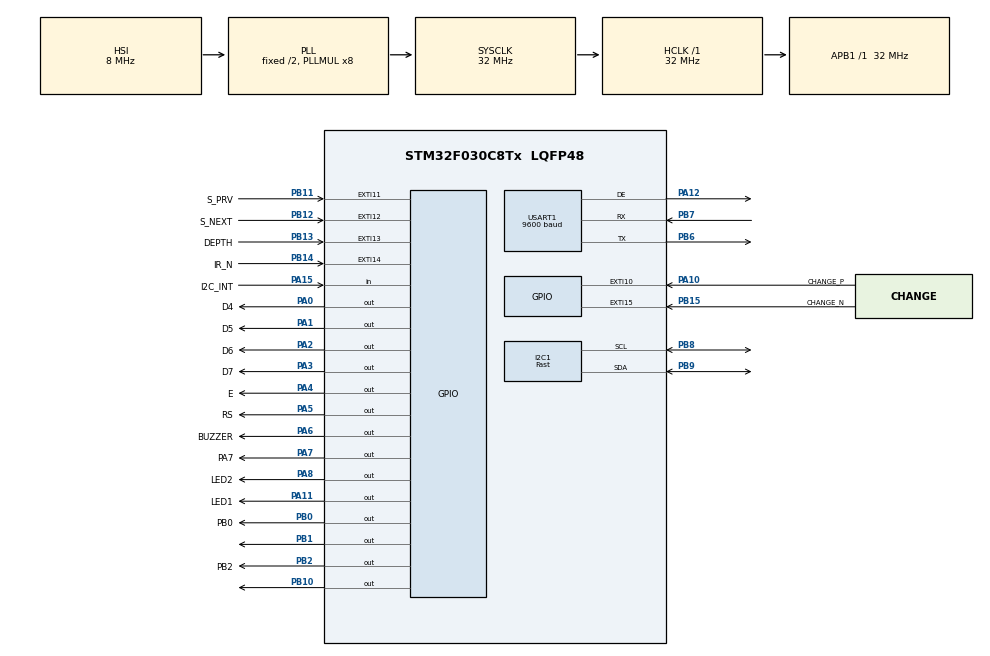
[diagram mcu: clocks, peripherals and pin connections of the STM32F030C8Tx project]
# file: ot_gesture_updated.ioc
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I2C1.I2C_Speed_Mode=I2C_Fast
I2C1.Timing=0x0000020B
Mcu.Family=STM32F0
Mcu.Name=STM32F030C8Tx
Mcu.Package=LQFP48
NVIC.EXTI4_15_IRQn=true\:0\:0\:false\:false\:true\:true\:true\:true
NVIC.TIM6_IRQn=true\:0\:0\:false\:false\:true\:true\:true\:true
PA0.GPIO_Label=D4
PA0.Signal=GPIO_Output
PA1.GPIO_Label=D5
PA1.Signal=GPIO_Output
PA10.GPIO_Label=CHANGE_P
PA10.Signal=GPXTI10
PA11.GPIO_Label=LED1
PA11.Signal=GPIO_Output
PA12.Mode=Hardware Flow Control (RS485)
PA12.Signal=USART1_DE
PA13.Mode=Serial_Wire
PA13.Signal=SYS_SWDIO
PA14.Mode=Serial_Wire
PA14.Signal=SYS_SWCLK
PA15.GPIO_Label=I2C_INT
PA15.Signal=GPIO_Input
PA2.GPIO_Label=D6
PA2.Signal=GPIO_Output
PA3.GPIO_Label=D7
PA3.Signal=GPIO_Output
PA4.GPIO_Label=E
PA4.Signal=GPIO_Output
PA5.GPIO_Label=RS
PA5.Signal=GPIO_Output
PA6.GPIO_Label=BUZZER
PA6.Signal=GPIO_Output
PA7.GPIO_Label=PA7
PA7.Signal=GPIO_Output
PA8.GPIO_Label=LED2
PA8.Signal=GPIO_Output
PB0.GPIO_Label=PB0
PB0.Signal=GPIO_Output
PB1.Signal=GPIO_Output
PB10.Signal=GPIO_Output
PB11.GPIO_Label=S_PRV
PB11.Signal=GPXTI11
PB12.GPIO_Label=S_NEXT
PB12.Signal=GPXTI12
PB13.GPIO_Label=DEPTH
PB13.Signal=GPXTI13
PB14.GPIO_Label=IR_N
PB14.Signal=GPXTI14
PB15.GPIO_Label=CHANGE_N
PB15.Signal=GPXTI15
PB2.GPIO_Label=PB2
PB2.Signal=GPIO_Output
PB6.Mode=Asynchronous
PB6.Signal=USART1_TX
PB7.Mode=Asynchronous
PB7.Signal=USART1_RX
PB8.GPIO_Pu=GPIO_PULLUP
PB8.Mode=I2C
PB8.Signal=I2C1_SCL
PB9.GPIO_Pu=GPIO_PULLUP
PB9.Mode=I2C
PB9.Signal=I2C1_SDA
ProjectManager.HeapSize=0x200
ProjectManager.StackSize=0x400
ProjectManager.TargetToolchain=STM32CubeIDE
RCC.AHBFreq_Value=32000000
RCC.APB1Freq_Value=32000000
RCC.APB1TimFreq_Value=32000000
RCC.HCLKFreq_Value=32000000
RCC.PLLMUL=RCC_PLL_MUL8
RCC.SYSCLKFreq_VALUE=32000000
RCC.SYSCLKSource=RCC_SYSCLKSOURCE_PLLCLK
TIM6.AutoReloadPreload=TIM_AUTORELOAD_PRELOAD_ENABLE
TIM6.Period=1000-1
TIM6.Prescaler=32000-1
USART1.BaudRate=9600
USART1.VirtualMode-Asynchronous=VM_ASYNC
USART1.VirtualMode-Hardware\ Flow\ Control\ (RS485)=VM_ASYNC
VP_TIM6_VS_ClockSourceINT.Mode=Enable_Timer
board=custom

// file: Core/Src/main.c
/* USER CODE BEGIN Header */
/**
 ******************************************************************************
 * @file           : main.c
 * @brief          : Main program body
 ******************************************************************************
 * @attention
 *
 * Copyright (c) 2022 STMicroelectronics.
 * All rights reserved.
 *
 * This software is licensed under terms that can be found in the LICENSE file
 * in the root directory of this software component.
 * If no LICENSE file comes with this software, it is provided AS-IS.
 *
 ******************************************************************************
 */
/* USER CODE END Header */
#include "main.h"

/* USER CODE BEGIN Includes */
#include <stdio.h>
/* USER CODE END Includes */

/* USER CODE BEGIN PTD */
uint32_t timer_intrupt = 0;
uint8_t depth_press =0;
#define on 1
#define off 0

void page_3_print(void);
void page_2_print(void);
void send_cmd(int8_t x, int8_t mode);

uint8_t last_pg, current_pg;
uint8_t pg2 = 0;
uint8_t pg2_fc = 0;

uint8_t pg3_sm,pg3_md,pg3_wd =0;

enum pos
{
	intensity = 1,
	color,
	sensor,
	lamp,
	endo,
	depth
};

enum key
{
	_prv,
	_nxt,
	_depth,
	_neg,
	_pos
};

struct key_status_reg
{
	volatile uint8_t prv : 1;
	volatile uint8_t nxt : 1;
	volatile uint8_t depth : 1;
	volatile uint8_t pos : 1;
	volatile uint8_t neg : 1;
};

struct gesture_status_reg
{
	uint8_t up : 1;
	uint8_t down : 1;
	uint8_t left : 1;
	uint8_t right : 1;
};

struct interrupt_flag_reg
{
	volatile uint8_t key_flag : 1;
	volatile uint8_t gesture_flag : 1;
	volatile uint8_t screen_flag : 1;
	volatile uint8_t prv_long_press : 1;
	volatile uint8_t depth_long_press : 1;
	volatile uint8_t update_data : 1;
};

struct pos_status_reg
{
	int8_t position_cursor;
	uint16_t key_number : 3;
	uint16_t gesture_direction : 2;
	uint16_t screen_number : 3;
};

struct screen_data_reg
{
	uint8_t intensity : 4;
	uint8_t sensor : 1;
	uint8_t lamp : 1;
	uint8_t endo : 1;
	uint8_t depth : 1;
	int8_t color;
};

enum pos cursor;
struct key_status_reg key_pressed;
struct gesture_status_reg ges_dir;
struct interrupt_flag_reg interrupt_reg;
struct pos_status_reg current_pos = {1, 0, 0, 1};
struct screen_data_reg data_reg = {1, 0, 0, 1, 0, 0};
/* USER CODE END PTD */

/* USER CODE BEGIN PM */
void init_gesture();
uint8_t readGesture();
uint8_t gestureAvailable();
void clr_select();
void clr_data(uint8_t);
/* USER CODE END PM */

 I2C_HandleTypeDef hi2c1;

TIM_HandleTypeDef htim6;

UART_HandleTypeDef huart1;

void SystemClock_Config(void);
static void MX_GPIO_Init(void);
static void MX_TIM6_Init(void);
static void MX_I2C1_Init(void);
static void MX_USART1_UART_Init(void);

/* USER CODE BEGIN 0 */
void home_page(void);
void lcd_clear(void);
void lcd_init(void);
void lcd_puts(uint8_t x, uint8_t y, int8_t *string);

void print_int(int _data)
{
	int8_t buffer[8];
	lcd_clear();
	sprintf(buffer, "%02d", _data);
	lcd_puts(3, 2, buffer); // x = 2, y = 3
}

uint8_t update_key_press()
{
	if (key_pressed.prv)
	{
		current_pos.key_number = _prv;
		key_pressed.prv = 0;
		return _prv;
	}
	else if (key_pressed.nxt)
	{
		key_pressed.nxt = 0;
		current_pos.key_number = _nxt;

		return _nxt;
	}
	else if (key_pressed.depth)
	{
		key_pressed.depth = 0;
		current_pos.key_number = _depth;
		data_reg.depth = !data_reg.depth;
		clr_data(depth);
		clr_select();
//		lcd_puts(3, 10, (int8_t *)">");
		if (data_reg.depth)
			lcd_puts(3, 17, (int8_t *)"ON");
		else
			lcd_puts(3, 17, (int8_t *)"OFF");

		return _depth;
	}
	else if (key_pressed.pos)
	{
		key_pressed.pos = 0;
		current_pos.key_number = _pos;
		return _pos;
	}
	else if (key_pressed.neg)
	{
		key_pressed.neg = 0;
		current_pos.key_number = _neg;
		return _neg;
	}

	return 0;
}

// void long_prv_press()
//{
//	current_pos.position_cursor =  sensor;
//	data_reg.sensor = !data_reg.sensor;
//
// }
void set_data_positive()
{
	if(pg2_fc == 0)
	{
		switch (current_pos.position_cursor)
		{
		case intensity:
			data_reg.intensity++;
			if (data_reg.intensity >= 10)
				data_reg.intensity = 10;
			break;
		case color:
			data_reg.color++;
			if (data_reg.color > 5)
				data_reg.color = 5;
			break;
		case sensor:
			data_reg.sensor = on;
			break;
		case lamp:
			data_reg.lamp = on;
			break;
		case endo:
			data_reg.endo = on;
			break;
		case depth:
			data_reg.depth = on;
			break;
		case 7:
			pg2_fc = on;
			break;
		}
	}

	else
	{
		switch (current_pos.position_cursor)
		{
		case 7:
			pg2_fc = on;
			break;
		case 1:
			pg3_sm = on;
			pg3_md = off;
			pg3_wd = off;
			break;
		case 2:
			pg3_sm = off;
			pg3_md = on;
			pg3_wd = off;
			break;
		case 3:
			pg3_sm = off;
			pg3_md = off;
			pg3_wd = on;
			break;

		}

	}
}

void set_data_negative()
{
	if(pg2_fc == 0)
	{

		switch (current_pos.position_cursor)
		{
		case intensity:
			data_reg.intensity--;
			if (data_reg.intensity <= 1)
				data_reg.intensity = 1;
			break;
		case color:
			data_reg.color--;
			if (data_reg.color < -5)
				data_reg.color = -5;
			break;
		case sensor:
			data_reg.sensor = off;
			break;
		case lamp:
			data_reg.lamp = off;
			break;
		case endo:
			data_reg.endo = off;
			break;
		case depth:
			data_reg.depth = off;
			break;
		case 7:
			pg2_fc = off;
			break;
		}
	}

	else
	{
		switch (current_pos.position_cursor)
		{
		case 7:
			pg2_fc = off;
			break;
		case 1:
			pg3_sm = off;
			break;
		case 2:
			pg3_md = off;
			break;
		case 3:
			pg3_wd = off;
			break;

		}

	}
}

void update_new_data()
{
	switch (current_pos.key_number)
	{
	case _prv:
		current_pos.position_cursor--;
//		if (current_pos.position_cursor == 0)
//		{
//			lcd_clear();
//			page_2_print();
//		}

		if (current_pos.position_cursor <= 0)
		{
//			lcd_clear();
			current_pos.position_cursor = 7;

		}
		break;
	case _nxt:
		current_pos.position_cursor++;
//		if (current_pos.position_cursor == 7)
//		{
//			page_2_print();
//		}

		if (current_pos.position_cursor > 7)
		{

				current_pos.position_cursor = 1;
		}
		break;
	case _depth:
//		data_reg.depth = !data_reg.depth;
		if (data_reg.depth)
		{
			current_pos.position_cursor = intensity;
			data_reg.intensity = 10;
			depth_press = 1;
//			data_reg.depth = on;
		}

		else
		{
			current_pos.position_cursor = intensity;
			data_reg.intensity = 1;
//			data_reg.depth = off;
		}
		break;
	case _pos:
		set_data_positive();
		break;
	case _neg:
		set_data_negative();
		break;

	}
}

void page_2_print()
{
	lcd_puts(0, 0, (int8_t *)">");
	lcd_puts(0, 1, (int8_t *)"FOCUS  :");

}

void page_3_print()
{
	char buf[3];
	lcd_puts(0, 0, (int8_t *)">");
	lcd_puts(0, 1, (int8_t *)"FOCUS  :");
	lcd_puts(1, 1, (int8_t *)"SMALL  : ");
	lcd_puts(2, 1, (int8_t *)"Medium : ");
	lcd_puts(3, 1, (int8_t *)"Wide   : ");

	clr_data(8);
	if (pg3_sm)
		lcd_puts(1, 10, (int8_t *)"ON");
	else
		lcd_puts(1, 10, (int8_t *)"OFF");

	clr_data(9);
	if (pg3_md)
		lcd_puts(2, 10, (int8_t *)"ON");
	else
		lcd_puts(2, 10, (int8_t *)"OFF");

	clr_data(10);
	if (pg3_wd)
		lcd_puts(3, 10, (int8_t *)"ON");
	else
		lcd_puts(3, 10, (int8_t *)"OFF");

}

void update_screen_data_2()
{
	lcd_puts(0, 0, (int8_t *)">");
	lcd_puts(0, 10, (int8_t *)"Disable");
}

void update_screen_data_3()
{

	switch(current_pos.position_cursor)
	{

	case 7:
		lcd_puts(0, 0, (int8_t *)">");
		lcd_puts(1, 0, (int8_t *)" ");
		lcd_puts(2, 0, (int8_t *)" ");
		lcd_puts(3, 0, (int8_t *)" ");
		if(pg2_fc)
		{
			lcd_puts(0, 15, (int8_t *)"  ");
			lcd_puts(0, 10, (int8_t *)"Enable");
		}
		else
			lcd_puts(0, 10, (int8_t *)"Disable");
		break;

	case 1:
		lcd_puts(0, 0, (int8_t *)" ");
		lcd_puts(1, 0, (int8_t *)">");
		lcd_puts(2, 0, (int8_t *)" ");
		lcd_puts(3, 0, (int8_t *)" ");
		if(pg3_sm)
		{
			lcd_puts(1, 12, (int8_t *)"  ");
			lcd_puts(1, 10, (int8_t *)"ON");
		}
		else
		{
			lcd_puts(1, 10, (int8_t *)"OFF");
		}
		send_cmd(pg3_sm,8);
		break;
	case 2:
		lcd_puts(0, 0, (int8_t *)" ");
		lcd_puts(1, 0, (int8_t *)" ");
		lcd_puts(2, 0, (int8_t *)">");
		lcd_puts(3, 0, (int8_t *)" ");
		if(pg3_md)
		{
			lcd_puts(2, 12, (int8_t *)" ");
			lcd_puts(2, 10, (int8_t *)"ON");
		}
		else
		{
			lcd_puts(2, 10, (int8_t *)"OFF");
		}
		send_cmd(pg3_md,8);
		break;
	case 3:
		lcd_puts(0, 0, (int8_t *)" ");
		lcd_puts(1, 0, (int8_t *)" ");
		lcd_puts(2, 0, (int8_t *)" ");
		lcd_puts(3, 0, (int8_t *)">");
		if(pg3_wd)
		{
			lcd_puts(3, 12, (int8_t *)" ");
			lcd_puts(3, 10, (int8_t *)"ON");
		}
		else
		{
			lcd_puts(3, 10, (int8_t *)"OFF");
		}
		send_cmd(pg3_wd,10);
		break;

	}
//
//	if(current_pos.position_cursor == 1)
//	{
//		lcd_puts(1, 0, (int8_t *)">");
//		if(pg3_sm)
//		{
//			lcd_puts(1, 12, (int8_t *)" ");
//			lcd_puts(1, 10, (int8_t *)"ON");
//		}
//		else
//		{
//			lcd_puts(1, 10, (int8_t *)"OFF");
//		}
//		break;
//	}
//	else if (current_pos.position_cursor == 2)
//	{
//		lcd_puts(2, 0, (int8_t *)">");
//		if(pg3_md)
//		{
//			lcd_puts(2, 12, (int8_t *)" ");
//			lcd_puts(2, 10, (int8_t *)"ON");
//		}
//		else
//		{
//			lcd_puts(2, 10, (int8_t *)"OFF");
//		}
//	}
//	else if (current_pos.position_cursor == 3)
//	{
//		lcd_puts(3, 0, (int8_t *)">");
//		if(pg3_sm)
//		{
//			lcd_puts(3, 12, (int8_t *)" ");
//			lcd_puts(3, 10, (int8_t *)"ON");
//		}
//		else
//		{
//			lcd_puts(3, 10, (int8_t *)"OFF");
//		}
//	}

}

void update_screen_data()
{
	char buffer[3];

	switch (current_pos.position_cursor)
	{
	case intensity:
		if(depth_press)
		{
//			sprintf(buffer, "%02d", data_reg.intensity);
			lcd_puts(1, 7, (int8_t *)"MAX");
			depth_press = 0;
		}
		else
		{
			clr_data(intensity);
			sprintf(buffer, "%02d", data_reg.intensity);
			lcd_puts(1, 7, (int8_t *)buffer);
		}

		clr_select();
		lcd_puts(1, 0, (int8_t *)">");
		send_cmd(data_reg.intensity,intensity);
		break;

	case color:
		sprintf(buffer, "%02d", data_reg.color);
		lcd_puts(2, 7, (int8_t *)buffer);
		clr_select();
		lcd_puts(2, 0, (int8_t *)">");
		send_cmd(data_reg.color,color);
		break;

	case sensor:
		clr_data(sensor);
		clr_select();
		lcd_puts(3, 0, (int8_t *)">");
		send_cmd(data_reg.sensor,sensor);
		if (data_reg.sensor)
			lcd_puts(3, 7, (int8_t *)"ON");
		else
			lcd_puts(3, 7, (int8_t *)"OFF");
		break;

	case lamp:
		clr_data(lamp);
		clr_select();
		lcd_puts(1, 10, (int8_t *)">");
		send_cmd(data_reg.lamp,lamp);
		if (data_reg.lamp)
			lcd_puts(1, 17, (int8_t *)"ON");
		else
			lcd_puts(1, 17, (int8_t *)"OFF");
		break;

	case endo:
		clr_data(endo);
		clr_select();
		lcd_puts(2, 10, (int8_t *)">");
		send_cmd(data_reg.lamp,lamp);
		if (data_reg.endo)
			lcd_puts(2, 17, (int8_t *)"ON");
		else
			lcd_puts(2, 17, (int8_t *)"OFF");
		break;

	case depth:
		clr_data(depth);
		clr_select();
		lcd_puts(3, 10, (int8_t *)">");
		send_cmd(data_reg.depth,depth);
		if (data_reg.depth)
			lcd_puts(3, 17, (int8_t *)"ON");
		else
			lcd_puts(3, 17, (int8_t *)"OFF");
		break;
	}
}

void send_cmd(int8_t x, int8_t mode)
{
	uint8_t data[5];
	data[0] = '@';
	data[4] = '#';
	switch (mode)
	{
	case intensity:
		data[1] = 'I';
		data[2] = '0';
		data[3] = 48 + x;
		HAL_UART_Transmit(&huart1, &data[0], 5, 100);
		break;
	case color:
		if (x > 0)
		{
			data[1] = 'C';
			data[2] = '+';
			data[3] = 48 + x;
		}
		else
		{
			data[1] = 'C';
			data[2] = '-';
			data[3] = (48 + (x) * (-1));
		}
		HAL_UART_Transmit(&huart1, &data[0], 5, 100);
		break;
	case sensor:
		// data[1] = 'I';data[2] = '0';data[3] = 48+x;
		// HAL_UART_Transmit(&huart1, &data[0], 5, 100);
		break;

	case lamp:
		data[1] = 'L';
		data[2] = '_';
		data[3] = 48 + x;
		HAL_UART_Transmit(&huart1, &data[0], 5, 100);
		break;
	case endo:
		data[1] = 'E';
		data[2] = '_';
		data[3] = 48 + x;
		HAL_UART_Transmit(&huart1, &data[0], 5, 100);
		break;
	case depth:
		data[1] = 'D';
		data[2] = '_';
		data[3] = 48 + x;
		HAL_UART_Transmit(&huart1, &data[0], 5, 100);
		break;
	case 8:

		if(x == 1)
		{
			data[1] = 'F';
			data[2] = '_';
			data[3] = 48 + 1;
		}
		else if(x == 0)
		{
			data[1] = 'R';
			data[2] = 'E';
			data[3] = 'S';
		}

		HAL_UART_Transmit(&huart1, &data[0], 5, 100);
		break;
	case 9:
		if(x == 1)
		{
			data[1] = 'F';
			data[2] = '_';
			data[3] = 48 + 2;
		}
		else if(x == 0)
		{
			data[1] = 'R';
			data[2] = 'E';
			data[3] = 'S';
		}
		HAL_UART_Transmit(&huart1, &data[0], 5, 100);
		break;
	case 10:
		if(x == 1)
		{
			data[1] = 'F';
			data[2] = '_';
			data[3] = 48 + 3;
		}
		else if(x == 0)
		{
			data[1] = 'R';
			data[2] = 'E';
			data[3] = 'S';
		}
		HAL_UART_Transmit(&huart1, &data[0], 5, 100);
		break;
	}
}

void page1_print(void)
{
	char buffer[3];
	lcd_puts(0, 0, (int8_t *)"______ COGNATE _____");
	lcd_puts(1, 1, (int8_t *)"INTEN");
	lcd_puts(2, 1, (int8_t *)"COLOR");
	lcd_puts(3, 1, (int8_t *)"SENSR");
	lcd_puts(1, 11, (int8_t *)"LAMP");
	lcd_puts(2, 11, (int8_t *)"ENDO");
	lcd_puts(3, 11, (int8_t *)"DEPTH");

//	lcd_puts(1, 0, (int8_t *)">");

	sprintf(buffer, "%02d", data_reg.intensity);
	lcd_puts(1, 7, (int8_t *)buffer);

	sprintf(buffer, "%02d", data_reg.color);
	lcd_puts(2, 7, (int8_t *)buffer);

	clr_data(sensor);
	if (data_reg.sensor)
		lcd_puts(3, 7, (int8_t *)"ON");
	else
		lcd_puts(3, 7, (int8_t *)"OFF");

	clr_data(lamp);
	if (data_reg.lamp)
		lcd_puts(1, 17, (int8_t *)"ON");
	else
		lcd_puts(1, 17, (int8_t *)"OFF");

	clr_data(endo);
	if (data_reg.endo)
		lcd_puts(2, 17, (int8_t *)"ON");
	else
		lcd_puts(2, 17, (int8_t *)"OFF");

	clr_data(depth);
	if (data_reg.depth)
		lcd_puts(3, 17, (int8_t *)"ON");
	else
		lcd_puts(3, 17, (int8_t *)"OFF");

	lcd_puts(1, 0, (int8_t *)">");
}

void HAL_GPIO_EXTI_Callback(uint16_t GPIO_Pin)
{

	static uint32_t _time;

	if ((HAL_GetTick() - _time) >= 500)
	{

		if (GPIO_Pin == S_PRV_Pin)
		{

			key_pressed.prv = 1;
			interrupt_reg.key_flag = 1;
		}

		else if (GPIO_Pin == S_NEXT_Pin)
		{

			key_pressed.nxt = 1;
			interrupt_reg.key_flag = 1;
		}

		else if (GPIO_Pin == DEPTH_Pin)
		{

			key_pressed.depth = 1;
			interrupt_reg.key_flag = 1;
		}

		else if (GPIO_Pin == CHANGE_N_Pin)
		{

			key_pressed.neg = 1;
			interrupt_reg.key_flag = 1;
		}

		else if (GPIO_Pin == CHANGE_P_Pin)
		{

			key_pressed.pos = 1;
			interrupt_reg.key_flag = 1;
		}

		else if (GPIO_Pin == I2C_INT_Pin)
		{
			//			interrupt_reg.key_flag = 1;
			//			key_pressed.prv =1;
		}

		_time = HAL_GetTick();
	}

}

void beep_sound()
{
	HAL_GPIO_WritePin(GPIOA, GPIO_PIN_6, 1);
	HAL_Delay(35);
	HAL_GPIO_WritePin(GPIOA, GPIO_PIN_6, 0);
	HAL_Delay(35);
	//	beep_sound_flag = 0;
}

/* USER CODE END 0 */

int main(void)
{
  /* USER CODE BEGIN 1 */
	//	current_pos.position_cursor = 1;
	//	data_reg = {1,0,0,1,0,0};
  /* USER CODE END 1 */

  /* MCU Configuration--------------------------------------------------------*/

  /* Reset of all peripherals, Initializes the Flash interface and the Systick. */
  HAL_Init();

  /* Configure the system clock */
  SystemClock_Config();

  /* Initialize all configured peripherals */
  MX_GPIO_Init();
  MX_TIM6_Init();
  MX_I2C1_Init();
  MX_USART1_UART_Init();
  /* USER CODE BEGIN 2 */
	HAL_TIM_Base_Start_IT(&htim6);
	//	lcd_init();

	//	HAL_Delay(1000);
	//	home_page();
	//	HAL_Delay(1000);
	//	lcd_clear();

	HAL_Delay(1000);
	lcd_init();
	HAL_Delay(1000);
	home_page();
	HAL_Delay(1000);
	lcd_clear();
	page1_print();
	HAL_Delay(1000);
	//  	data_reg.sensor = 1;
	init_gesture();
	HAL_Delay(1000);
	uint8_t sns_status = 0;
	uint8_t page_change_flag = 0;

	uint32_t temp_time = HAL_GetTick();

  /* USER CODE END 2 */

  /* Infinite loop */
	while (1)
	{

    /* USER CODE BEGIN 3 */

		if (interrupt_reg.key_flag)
		{

			if (HAL_GPIO_ReadPin(S_PRV_GPIO_Port, S_PRV_Pin) == 0)
			{
				temp_time = HAL_GetTick();
				//				HAL_Delay(1000);
				while ((HAL_GetTick() - temp_time) >= 2000)  // error
				{
					if (HAL_GPIO_ReadPin(S_PRV_GPIO_Port, S_PRV_Pin))
					{
						interrupt_reg.key_flag = 1;
						interrupt_reg.prv_long_press = 0;
						break;
					}
					interrupt_reg.key_flag = 0;
					interrupt_reg.prv_long_press = 1;
				}
			}

			if (HAL_GPIO_ReadPin(DEPTH_GPIO_Port, DEPTH_Pin) == 0)
			{
				temp_time = HAL_GetTick();
				//				HAL_Delay(1000);
				while ((HAL_GetTick() - temp_time) <= 2000)
				{
					if (HAL_GPIO_ReadPin(DEPTH_GPIO_Port, DEPTH_Pin))
					{
						interrupt_reg.key_flag = 1;
						interrupt_reg.depth_long_press = 0;
						break;
					}
					interrupt_reg.key_flag = 0;
					interrupt_reg.depth_long_press = 1;
				}
			}

			if (interrupt_reg.key_flag)
			{
				beep_sound();
				update_key_press();
				interrupt_reg.key_flag = 0;
				interrupt_reg.update_data = 1;
			}

			if (interrupt_reg.prv_long_press)
			{
				beep_sound();
				interrupt_reg.prv_long_press = 0;
				key_pressed.prv = 0;
				//				interrupt_reg.update_data = 0;
				data_reg.sensor = !data_reg.sensor;
				clr_data(sensor);
				if (data_reg.sensor)
					lcd_puts(3, 7, (int8_t *)"ON");
				else
					lcd_puts(3, 7, (int8_t *)"OFF");
				sns_status = 1;
			}

			if (interrupt_reg.depth_long_press)
			{
//				lcd_puts(0, 0, (int8_t *)"...");
				page_change_flag = 1;
				beep_sound();
				current_pos.key_number = _depth;
				interrupt_reg.depth_long_press = 0;
				key_pressed.depth = 0;
				interrupt_reg.key_flag =0;
//				interrupt_reg.update_data = 1;
			}
			//			else if (interrupt_reg.gesture_flag)
			//			{
			//				beep_sound();
			//				interrupt_reg.gesture_flag = 0;
			//				interrupt_reg.update_data = 1;
			//			}
		}

		if (data_reg.sensor)
		{
			HAL_Delay(100);
			if (gestureAvailable())
			{
				uint8_t gesture = readGesture();
				switch (gesture)
				{
				case 0:
					beep_sound();
					key_pressed.prv = 1;
					update_key_press();
					interrupt_reg.update_data = 1;
					break;

				case 1:
					beep_sound();
					key_pressed.nxt = 1;
					update_key_press();
					interrupt_reg.update_data = 1;
					break;

				case 2:
					beep_sound();
					key_pressed.neg = 1;
					update_key_press();
					interrupt_reg.update_data = 1;
					break;

				case 3:
					beep_sound();
					key_pressed.pos = 1;
					update_key_press();
					interrupt_reg.update_data = 1;
					break;

				default:
					break;
				}
			}
		}

		if (interrupt_reg.update_data)
		{
//			char buffers[3];
			update_new_data();

			if(current_pos.position_cursor == 7 )
				{

//					if(last_pg != 2)
//					{
//						lcd_clear();
//						page_2_print();
//					}
//					update_screen_data_2();

					if(pg2_fc == 0)
					{
//						lcd_clear();
						if(last_pg != 2)
						{
						lcd_clear();
						page_2_print();
						}

						last_pg = 2;
						update_screen_data_2();
					}
					else if (pg2_fc == 1)
					{
//						lcd_clear();
						if(last_pg != 3)
						{
							lcd_clear();
							page_3_print();
							last_pg = 3;
						}
//						lcd_clear();
//						page_3_print();

						update_screen_data_3();
					}

//					sprintf(buffers, "%02d", current_pos.position_cursor);
//					lcd_puts(3, 16, (int8_t *)buffers);

				}
			else if((current_pos.position_cursor >= 1 )|| (current_pos.position_cursor <= 6))
			{
				if(pg2_fc == 0)
				{

					if(last_pg != 1)
					{
						lcd_clear();
						page1_print();
					}

					last_pg = 1;
					update_screen_data();

//					if(current_pos.position_cursor >= 1)
//					{
//	//					current_pos.position_cursor = 1;
//						lcd_clear();
//						page1_print();
//					}

//					sprintf(buffers, "%02d", current_pos.position_cursor);
	//				lcd_puts(2, 16, (int8_t *)buffers);
				}

				else if (pg2_fc == 1)
				{
					if(current_pos.position_cursor >3)
					{
						current_pos.position_cursor = 7;
					}

					if(last_pg != 3)
					{
						lcd_clear();
						page_3_print();
					}

					last_pg = 3;
					update_screen_data_3();
//					sprintf(buffers, "%02d", current_pos.position_cursor);
//					lcd_puts(3, 16, (int8_t *)buffers);
				}

			}

			interrupt_reg.update_data = 0;
		}

		if (page_change_flag)
		{
			clock_page();
			Total_Time_Print(timer_intrupt);
			HAL_Delay(2000);
			lcd_clear();
			page1_print();
			page_change_flag = 0;
			interrupt_reg.update_data = 0;
			interrupt_reg.key_flag =0;
		}
	}
  /* USER CODE END 3 */
}

void SystemClock_Config(void)
{
  RCC_OscInitTypeDef RCC_OscInitStruct = {0};
  RCC_ClkInitTypeDef RCC_ClkInitStruct = {0};
  RCC_PeriphCLKInitTypeDef PeriphClkInit = {0};

  /** Initializes the RCC Oscillators according to the specified parameters
  * in the RCC_OscInitTypeDef structure.
  */
  RCC_OscInitStruct.OscillatorType = RCC_OSCILLATORTYPE_HSI;
  RCC_OscInitStruct.HSIState = RCC_HSI_ON;
  RCC_OscInitStruct.HSICalibrationValue = RCC_HSICALIBRATION_DEFAULT;
  RCC_OscInitStruct.PLL.PLLState = RCC_PLL_ON;
  RCC_OscInitStruct.PLL.PLLSource = RCC_PLLSOURCE_HSI;
  RCC_OscInitStruct.PLL.PLLMUL = RCC_PLL_MUL8;
  RCC_OscInitStruct.PLL.PREDIV = RCC_PREDIV_DIV1;
  if (HAL_RCC_OscConfig(&RCC_OscInitStruct) != HAL_OK)
  {
    Error_Handler();
  }

  /** Initializes the CPU, AHB and APB buses clocks
  */
  RCC_ClkInitStruct.ClockType = RCC_CLOCKTYPE_HCLK|RCC_CLOCKTYPE_SYSCLK
                              |RCC_CLOCKTYPE_PCLK1;
  RCC_ClkInitStruct.SYSCLKSource = RCC_SYSCLKSOURCE_PLLCLK;
  RCC_ClkInitStruct.AHBCLKDivider = RCC_SYSCLK_DIV1;
  RCC_ClkInitStruct.APB1CLKDivider = RCC_HCLK_DIV1;

  if (HAL_RCC_ClockConfig(&RCC_ClkInitStruct, FLASH_LATENCY_1) != HAL_OK)
  {
    Error_Handler();
  }
  PeriphClkInit.PeriphClockSelection = RCC_PERIPHCLK_USART1|RCC_PERIPHCLK_I2C1;
  PeriphClkInit.Usart1ClockSelection = RCC_USART1CLKSOURCE_PCLK1;
  PeriphClkInit.I2c1ClockSelection = RCC_I2C1CLKSOURCE_HSI;
  if (HAL_RCCEx_PeriphCLKConfig(&PeriphClkInit) != HAL_OK)
  {
    Error_Handler();
  }
}

static void MX_I2C1_Init(void)
{

  hi2c1.Instance = I2C1;
  hi2c1.Init.Timing = 0x0000020B;
  hi2c1.Init.OwnAddress1 = 0;
  hi2c1.Init.AddressingMode = I2C_ADDRESSINGMODE_7BIT;
  hi2c1.Init.DualAddressMode = I2C_DUALADDRESS_DISABLE;
  hi2c1.Init.OwnAddress2 = 0;
  hi2c1.Init.OwnAddress2Masks = I2C_OA2_NOMASK;
  hi2c1.Init.GeneralCallMode = I2C_GENERALCALL_DISABLE;
  hi2c1.Init.NoStretchMode = I2C_NOSTRETCH_DISABLE;
  if (HAL_I2C_Init(&hi2c1) != HAL_OK)
  {
    Error_Handler();
  }

  /** Configure Analogue filter
  */
  if (HAL_I2CEx_ConfigAnalogFilter(&hi2c1, I2C_ANALOGFILTER_ENABLE) != HAL_OK)
  {
    Error_Handler();
  }

  /** Configure Digital filter
  */
  if (HAL_I2CEx_ConfigDigitalFilter(&hi2c1, 0) != HAL_OK)
  {
    Error_Handler();
  }

}

static void MX_TIM6_Init(void)
{

  htim6.Instance = TIM6;
  htim6.Init.Prescaler = 32000-1;
  htim6.Init.CounterMode = TIM_COUNTERMODE_UP;
  htim6.Init.Period = 1000-1;
  htim6.Init.AutoReloadPreload = TIM_AUTORELOAD_PRELOAD_ENABLE;
  if (HAL_TIM_Base_Init(&htim6) != HAL_OK)
  {
    Error_Handler();
  }

}

static void MX_USART1_UART_Init(void)
{

  huart1.Instance = USART1;
  huart1.Init.BaudRate = 9600;
  huart1.Init.WordLength = UART_WORDLENGTH_8B;
  huart1.Init.StopBits = UART_STOPBITS_1;
  huart1.Init.Parity = UART_PARITY_NONE;
  huart1.Init.Mode = UART_MODE_TX_RX;
  huart1.Init.HwFlowCtl = UART_HWCONTROL_NONE;
  huart1.Init.OverSampling = UART_OVERSAMPLING_16;
  huart1.Init.OneBitSampling = UART_ONE_BIT_SAMPLE_DISABLE;
  huart1.AdvancedInit.AdvFeatureInit = UART_ADVFEATURE_NO_INIT;
  if (HAL_RS485Ex_Init(&huart1, UART_DE_POLARITY_HIGH, 0, 0) != HAL_OK)
  {
    Error_Handler();
  }

}

static void MX_GPIO_Init(void)
{
  GPIO_InitTypeDef GPIO_InitStruct = {0};

  /* GPIO Ports Clock Enable */
  __HAL_RCC_GPIOA_CLK_ENABLE();
  __HAL_RCC_GPIOB_CLK_ENABLE();

  /*Configure GPIO pin Output Level */
  HAL_GPIO_WritePin(GPIOA, D4_Pin|D5_Pin|D6_Pin|D7_Pin
                          |E_Pin|RS_Pin|BUZZER_Pin|PA7_Pin
                          |LED2_Pin|LED1_Pin, GPIO_PIN_RESET);

  /*Configure GPIO pin Output Level */
  HAL_GPIO_WritePin(GPIOB, PB0_Pin|GPIO_PIN_1|PB2_Pin|GPIO_PIN_10, GPIO_PIN_RESET);

  /*Configure GPIO pins : D4_Pin D5_Pin D6_Pin D7_Pin
                           E_Pin RS_Pin BUZZER_Pin PA7_Pin
                           LED2_Pin LED1_Pin */
  GPIO_InitStruct.Pin = D4_Pin|D5_Pin|D6_Pin|D7_Pin
                          |E_Pin|RS_Pin|BUZZER_Pin|PA7_Pin
                          |LED2_Pin|LED1_Pin;
  GPIO_InitStruct.Mode = GPIO_MODE_OUTPUT_PP;
  GPIO_InitStruct.Pull = GPIO_NOPULL;
  GPIO_InitStruct.Speed = GPIO_SPEED_FREQ_LOW;
  HAL_GPIO_Init(GPIOA, &GPIO_InitStruct);

  /*Configure GPIO pins : PB0_Pin PB1 PB2_Pin PB10 */
  GPIO_InitStruct.Pin = PB0_Pin|GPIO_PIN_1|PB2_Pin|GPIO_PIN_10;
  GPIO_InitStruct.Mode = GPIO_MODE_OUTPUT_PP;
  GPIO_InitStruct.Pull = GPIO_NOPULL;
  GPIO_InitStruct.Speed = GPIO_SPEED_FREQ_LOW;
  HAL_GPIO_Init(GPIOB, &GPIO_InitStruct);

  /*Configure GPIO pins : S_PRV_Pin S_NEXT_Pin DEPTH_Pin IR_N_Pin
                           CHANGE_N_Pin */
  GPIO_InitStruct.Pin = S_PRV_Pin|S_NEXT_Pin|DEPTH_Pin|IR_N_Pin
                          |CHANGE_N_Pin;
  GPIO_InitStruct.Mode = GPIO_MODE_IT_RISING;
  GPIO_InitStruct.Pull = GPIO_NOPULL;
  HAL_GPIO_Init(GPIOB, &GPIO_InitStruct);

  /*Configure GPIO pin : CHANGE_P_Pin */
  GPIO_InitStruct.Pin = CHANGE_P_Pin;
  GPIO_InitStruct.Mode = GPIO_MODE_IT_RISING;
  GPIO_InitStruct.Pull = GPIO_NOPULL;
  HAL_GPIO_Init(CHANGE_P_GPIO_Port, &GPIO_InitStruct);

  /*Configure GPIO pin : I2C_INT_Pin */
  GPIO_InitStruct.Pin = I2C_INT_Pin;
  GPIO_InitStruct.Mode = GPIO_MODE_INPUT;
  GPIO_InitStruct.Pull = GPIO_NOPULL;
  HAL_GPIO_Init(I2C_INT_GPIO_Port, &GPIO_InitStruct);

  /* EXTI interrupt init*/
  HAL_NVIC_SetPriority(EXTI4_15_IRQn, 0, 0);
  HAL_NVIC_EnableIRQ(EXTI4_15_IRQn);

}

void Error_Handler(void)
{
	__disable_irq();
	while (1)
	{
	}
}
